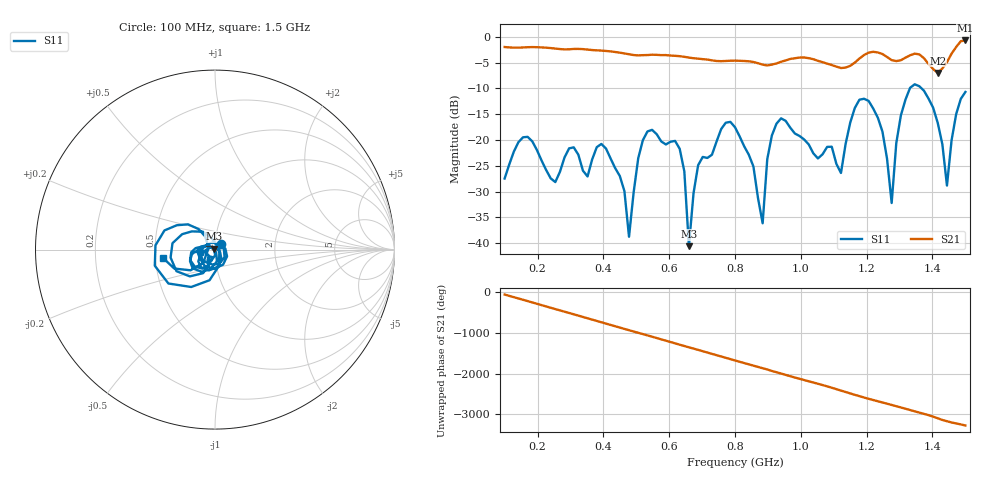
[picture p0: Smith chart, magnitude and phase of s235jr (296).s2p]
! NanoVNA-App
! Date: 2025-09-25 15:06:28
! Start: 100MHz Stop: 1,5GHz Points: 101
! S-Parameter data: F S11 S21 S12 S22
# Hz S RI R 50
!  Frequency  S11_Real  S11_Imag  S21_Real  S21_Imag  S12_Real  S12_Imag  S22_Real  S22_Imag
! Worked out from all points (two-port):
!   101 points, 100 MHz to 1.5 GHz, reference 50 ohm
!   highest |S21| = -0.69 dB at 1.5 GHz (marker M1); lowest = -7.0 dB at 1.416 GHz (marker M2)
!   |S21| within 3 dB of the highest: start of sweep to 622.6 MHz; 1.188 GHz to 1.257 GHz (68.55 MHz wide, 5.61 % of centre) (the widest 2 of 4)
!   lowest |S11| = -40.6 dB at 660 MHz (marker M3), VSWR 1.02, Z = 49.3 + j0.595 ohm
!   |S11| at or under -10 dB: start of sweep to 1.331 GHz; 1.367 GHz to end of sweep
!   S12 and S22 are empty: the file has one direction only
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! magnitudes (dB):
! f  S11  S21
! 100 MHz  -27.5  -2.0
! 156 MHz  -19.5  -2.0
! 338 MHz  -25.9  -2.4
! 408 MHz  -21.6  -2.7
! 478 MHz  -38.7  -3.4
! 520 MHz  -20.0  -3.5
! 576 MHz  -20.3  -3.5
! 632 MHz  -21.7  -3.7
! 660 MHz  -40.6  -4.0
! 688 MHz  -24.9  -4.2
! 800 MHz  -17.5  -4.6
! 884 MHz  -36.1  -5.4
! 926 MHz  -16.8  -5.1
! 1.038 GHz  -22.6  -4.3
! 1.122 GHz  -26.4  -6.0
! 1.206 GHz  -12.4  -3.0
! 1.276 GHz  -32.2  -4.5
! 1.29 GHz  -20.6  -4.7
! 1.332 GHz  -9.9  -3.6
! 1.416 GHz  -16.7  -7.0
! 1.444 GHz  -28.8  -4.9
! 1.5 GHz  -10.7  -0.7
